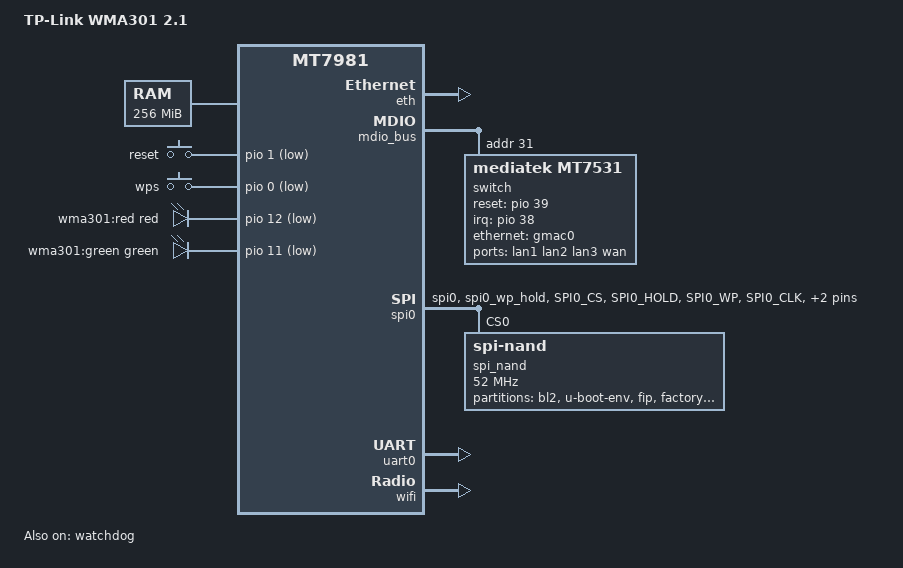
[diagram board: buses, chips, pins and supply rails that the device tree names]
// SPDX-License-Identifier: GPL-2.0-or-later OR MIT

/dts-v1/;
#include <dt-bindings/gpio/gpio.h>
#include <dt-bindings/input/input.h>
#include <dt-bindings/leds/common.h>

#include "mt7981.dtsi"

/ {
	model = "TP-Link WMA301 2.1";
	compatible = "tplink,wma301", "mediatek,mt7981";

	aliases {
		serial0 = &uart0;
		led-boot = "/leds/red";
		led-failsafe = "/leds/red";
		led-running = "/leds/green";
		led-upgrade = "/leds/green";
	};

	chosen {
		bootargs = "console=ttyS0,115200n1 loglevel=8";
	};

	memory {
		reg = <0 0x40000000 0 0x10000000>;
	};

	gpio-keys {
		compatible = "gpio-keys";

		reset {
			label = "reset";
			linux,code = <KEY_RESTART>;
			gpios = <&pio 1 GPIO_ACTIVE_LOW>;
		};

		wps {
			label = "wps";
			linux,code = <KEY_WPS_BUTTON>;
			gpios = <&pio 0 GPIO_ACTIVE_LOW>;
		};
	};

	leds {
		compatible = "gpio-leds";

		red {
			label = "wma301:red";
			function = LED_FUNCTION_STATUS;
			color = <LED_COLOR_ID_RED>;
			gpios = <&pio 12 GPIO_ACTIVE_LOW>;
		};

		green {
			label = "wma301:green";
			function = LED_FUNCTION_STATUS;
			color = <LED_COLOR_ID_GREEN>;
			gpios = <&pio 11 GPIO_ACTIVE_LOW>;
		};
	};
};

&eth {
	status = "okay";

	gmac0: mac@0 {
		compatible = "mediatek,eth-mac";
		reg = <0>;
		phy-mode = "2500base-x";

		nvmem-cells = <&macaddr_factory 0>;
		nvmem-cell-names = "mac-address";

		fixed-link {
			speed = <2500>;
			full-duplex;
			pause;
		};
	};
};

&mdio_bus {
	switch: switch@1f {
		compatible = "mediatek,mt7531";
		reg = <31>;

		reset-gpios = <&pio 39 GPIO_ACTIVE_HIGH>;

		interrupt-controller;
		#interrupt-cells = <1>;
		interrupt-parent = <&pio>;
		interrupts = <38 IRQ_TYPE_LEVEL_HIGH>;
	};
};

&spi0 {
	pinctrl-names = "default";
	pinctrl-0 = <&spi0_flash_pins>;
	status = "okay";

	spi_nand@0 {
		compatible = "spi-nand";
		reg = <0>;

		#address-cells = <1>;
		#size-cells = <1>;

		spi-max-frequency = <52000000>;
		spi-rx-bus-width = <4>;
		spi-tx-bus-width = <4>;

		partitions {
			compatible = "fixed-partitions";
			#address-cells = <1>;
			#size-cells = <1>;

			partition@0 {
				label = "bl2";
				reg = <0x00000000 0x00100000>;
				read-only;
			};

			partition@100000 {
				label = "u-boot-env";
				reg = <0x00100000 0x00100000>;
			};

			partition@200000 {
				label = "fip";
				reg = <0x00200000 0x00200000>;
				read-only;
			};

			factory: partition@400000 {
				label = "factory";
				reg = <0x00400000 0x00080000>;
				read-only;

				nvmem-layout {
					compatible = "fixed-layout";
					#address-cells = <1>;
					#size-cells = <1>;

					macaddr_factory: macaddr@1c {
						compatible = "mac-base";
						reg = <0x1c 0x6>;
						#nvmem-cell-cells = <1>;
					};
				};
			};

			eeprom: partition@480000 {
				label = "eeprom";
				reg = <0x00480000 0x00080000>;
				read-only;

				nvmem-layout {
					compatible = "fixed-layout";
					#address-cells = <1>;
					#size-cells = <1>;

					eeprom_wifi: eeprom@0 {
						reg = <0x0 0x1000>;
					};
				};
			};

			partition@500000 {
				label = "stock-config";
				reg = <0x00500000 0x00200000>;
			};

			partition@700000 {
				label = "ubi";
				compatible = "linux,ubi";
				reg = <0x00700000 0x07900000>;
			};
		};
	};
};

&switch {
	ports {
		#address-cells = <1>;
		#size-cells = <0>;

		port@0 {
			reg = <0>;
			label = "lan1";
		};

		port@1 {
			reg = <1>;
			label = "lan2";
		};

		port@2 {
			reg = <2>;
			label = "lan3";
		};

		port@3 {
			reg = <3>;
			label = "wan";
		};

		port@6 {
			reg = <6>;
			ethernet = <&gmac0>;
			phy-mode = "2500base-x";

			fixed-link {
				speed = <2500>;
				full-duplex;
				pause;
			};
		};
	};
};

&pio {
	spi0_flash_pins: spi0-pins {
		mux {
			function = "spi";
			groups = "spi0", "spi0_wp_hold";
		};

		conf-pu {
			pins = "SPI0_CS", "SPI0_HOLD", "SPI0_WP";
			drive-strength = <MTK_DRIVE_8mA>;
			bias-pull-up = <MTK_PUPD_SET_R1R0_11>;
		};

		conf-pd {
			pins = "SPI0_CLK", "SPI0_MOSI", "SPI0_MISO";
			drive-strength = <MTK_DRIVE_8mA>;
			bias-pull-down = <MTK_PUPD_SET_R1R0_11>;
		};
	};
};

&uart0 {
	status = "okay";
};

&watchdog {
	status = "okay";
};

&wifi {
	nvmem-cells = <&eeprom_wifi>;
	nvmem-cell-names = "eeprom";
	status = "okay";
};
